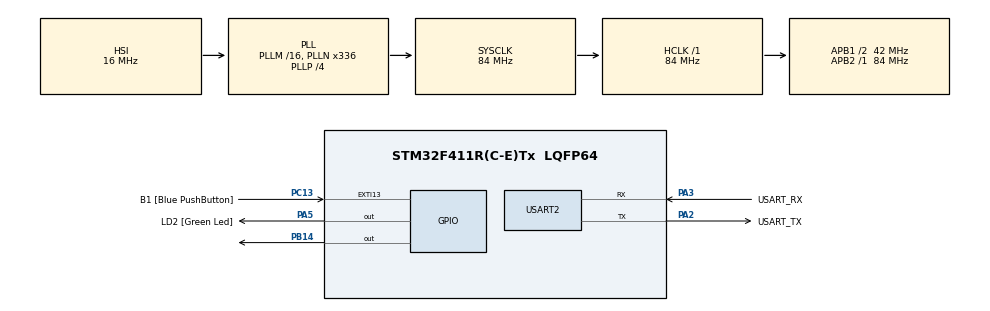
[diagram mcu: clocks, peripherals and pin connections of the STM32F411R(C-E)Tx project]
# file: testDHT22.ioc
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Mcu.Family=STM32F4
Mcu.Name=STM32F411R(C-E)Tx
Mcu.Package=LQFP64
NVIC.PriorityGroup=NVIC_PRIORITYGROUP_0
PA13.GPIO_Label=TMS
PA13.Mode=Serial_Wire
PA13.Signal=SYS_JTMS-SWDIO
PA14.GPIO_Label=TCK
PA14.Mode=Serial_Wire
PA14.Signal=SYS_JTCK-SWCLK
PA2.GPIO_Label=USART_TX
PA2.Mode=Asynchronous
PA2.Signal=USART2_TX
PA3.GPIO_Label=USART_RX
PA3.Mode=Asynchronous
PA3.Signal=USART2_RX
PA5.GPIO_Label=LD2 [Green Led]
PA5.Signal=GPIO_Output
PB14.Signal=GPIO_Output
PB3.GPIO_Label=SWO
PB3.Signal=SYS_JTDO-SWO
PC13-ANTI_TAMP.GPIO_Label=B1 [Blue PushButton]
PC13-ANTI_TAMP.GPIO_ModeDefaultEXTI=GPIO_MODE_IT_FALLING
PC13-ANTI_TAMP.Signal=GPXTI13
PC14-OSC32_IN.Signal=RCC_OSC32_IN
PC15-OSC32_OUT.Signal=RCC_OSC32_OUT
PH0\ -\ OSC_IN.Mode=HSE-External-Oscillator
PH0\ -\ OSC_IN.Signal=RCC_OSC_IN
PH1\ -\ OSC_OUT.Mode=HSE-External-Oscillator
PH1\ -\ OSC_OUT.Signal=RCC_OSC_OUT
ProjectManager.HeapSize=0x200
ProjectManager.StackSize=0x400
ProjectManager.TargetToolchain=STM32CubeIDE
RCC.48MHZClocksFreq_Value=84000000
RCC.AHBFreq_Value=84000000
RCC.APB1CLKDivider=RCC_HCLK_DIV2
RCC.APB1Freq_Value=42000000
RCC.APB1TimFreq_Value=84000000
RCC.APB2Freq_Value=84000000
RCC.APB2TimFreq_Value=84000000
RCC.CortexFreq_Value=84000000
RCC.FLatency-AdvancedSettings=FLASH_LATENCY_2
RCC.HCLKFreq_Value=84000000
RCC.HSE_VALUE=8000000
RCC.HSI_VALUE=16000000
RCC.PLLN=336
RCC.PLLP=RCC_PLLP_DIV4
RCC.SYSCLKFreq_VALUE=84000000
RCC.SYSCLKSource=RCC_SYSCLKSOURCE_PLLCLK
RCC.VCOOutputFreq_Value=336000000
TIM1.Prescaler=83
USART2.VirtualMode=VM_ASYNC
VP_TIM1_VS_ClockSourceINT.Mode=Internal
board=NUCLEO-F411RE

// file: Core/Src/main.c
/* USER CODE BEGIN Header */
/**
  ******************************************************************************
  * @file           : main.c
  * @brief          : Main program body
  ******************************************************************************
  * @attention
  *
  * Copyright (c) 2025 STMicroelectronics.
  * All rights reserved.
  *
  * This software is licensed under terms that can be found in the LICENSE file
  * in the root directory of this software component.
  * If no LICENSE file comes with this software, it is provided AS-IS.
  *
  ******************************************************************************
  */
/* USER CODE END Header */
#include "main.h"

/* USER CODE BEGIN Includes */
#include "stdio.h"
/* USER CODE END Includes */

TIM_HandleTypeDef htim1;

UART_HandleTypeDef huart2;

void SystemClock_Config(void);
static void MX_GPIO_Init(void);
static void MX_USART2_UART_Init(void);
static void MX_TIM1_Init(void);
/* USER CODE BEGIN PFP */
#define DHT22_PORT GPIOB
#define DHT22_PIN GPIO_PIN_14
/* USER CODE END PFP */

/* USER CODE BEGIN 0 */
uint8_t hum1, hum2, tempC1, tempC2, SUM, CHECK;
uint32_t pMillis, cMillis;
float temp_Celsius = 0;
float Humidity = 0;
uint8_t hum_integral, hum_decimal, tempC_integral, tempC_decimal;
char string[15];

void microDelay (uint16_t delay)
{
  __HAL_TIM_SET_COUNTER(&htim1, 0);
  while (__HAL_TIM_GET_COUNTER(&htim1) < delay);
}

uint8_t DHT22_Start (void)
{
  uint8_t Response = 0;
  GPIO_InitTypeDef GPIO_InitStructPrivate = {0};
  GPIO_InitStructPrivate.Pin = DHT22_PIN;
  GPIO_InitStructPrivate.Mode = GPIO_MODE_OUTPUT_PP;
  GPIO_InitStructPrivate.Speed = GPIO_SPEED_FREQ_LOW;
  GPIO_InitStructPrivate.Pull = GPIO_NOPULL;
  HAL_GPIO_Init(DHT22_PORT, &GPIO_InitStructPrivate);
  HAL_GPIO_WritePin(DHT22_PORT, DHT22_PIN, 0);
  microDelay(1300);
  HAL_GPIO_WritePin(DHT22_PORT, DHT22_PIN, 1);
  microDelay(30);
  GPIO_InitStructPrivate.Mode = GPIO_MODE_INPUT;
  GPIO_InitStructPrivate.Pull = GPIO_PULLUP;
  HAL_GPIO_Init(DHT22_PORT, &GPIO_InitStructPrivate);
  microDelay(40);
  if (!(HAL_GPIO_ReadPin(DHT22_PORT, DHT22_PIN)))
  {
    microDelay(80);
    if ((HAL_GPIO_ReadPin(DHT22_PORT, DHT22_PIN))) Response = 1;
  }
  pMillis = HAL_GetTick();
  cMillis = HAL_GetTick();
  while ((HAL_GPIO_ReadPin(DHT22_PORT, DHT22_PIN)) && pMillis + 2 > cMillis)
  {
    cMillis = HAL_GetTick();
  }
  return Response;
}

uint8_t DHT22_Read (void)
{
  uint8_t x,y;
  for (x=0;x<8;x++)
  {
    pMillis = HAL_GetTick();
    cMillis = HAL_GetTick();
    while (!(HAL_GPIO_ReadPin(DHT22_PORT, DHT22_PIN)) && pMillis + 2 > cMillis)
    {
      cMillis = HAL_GetTick();
    }
    microDelay (40);
    if (!(HAL_GPIO_ReadPin(DHT22_PORT, DHT22_PIN)))   // if the pin is low
      y&= ~(1<<(7-x));
    else
      y|= (1<<(7-x));
    pMillis = HAL_GetTick();
    cMillis = HAL_GetTick();
    while ((HAL_GPIO_ReadPin(DHT22_PORT, DHT22_PIN)) && pMillis + 2 > cMillis)
    {  // wait for the pin to go low
      cMillis = HAL_GetTick();
    }
  }
  return y;
}
/* USER CODE END 0 */

int main(void)
{

  /* MCU Configuration--------------------------------------------------------*/

  /* Reset of all peripherals, Initializes the Flash interface and the Systick. */
  HAL_Init();

  /* Configure the system clock */
  SystemClock_Config();

  /* Initialize all configured peripherals */
  MX_GPIO_Init();
  MX_USART2_UART_Init();
  MX_TIM1_Init();
  /* USER CODE BEGIN 2 */
  HAL_TIM_Base_Start(&htim1);
  /* USER CODE END 2 */

  /* Infinite loop */
  while (1)
  {

    /* USER CODE BEGIN 3 */
	 if(DHT22_Start())
	 {
	   hum1 = DHT22_Read();
	   hum2 = DHT22_Read();
	   tempC1 = DHT22_Read();
	   tempC2 = DHT22_Read();
	   SUM = DHT22_Read();
	   CHECK = hum1 + hum2 + tempC1 + tempC2;
	   if (CHECK == SUM)
	   {
		 if (tempC1>127)
		 {
		   temp_Celsius = (float)tempC2/10*(-1);
		 }
		 else
		 {
		   temp_Celsius = (float)((tempC1<<8)|tempC2)/10;
		 }

		 Humidity = (float) ((hum1<<8)|hum2)/10;

		 hum_integral = Humidity;
		 hum_decimal = Humidity*10-hum_integral*10;
		 sprintf(string,"%d.%d %%  ", hum_integral, hum_decimal);
		 HAL_UART_Transmit(&huart2, (uint8_t*)("Humidity :"), 10, HAL_MAX_DELAY);
		 HAL_UART_Transmit(&huart2, (uint8_t*)string, strlen(string), HAL_MAX_DELAY);

		 if (temp_Celsius < 0)
		 {
		   tempC_integral = temp_Celsius *(-1);
		   tempC_decimal = temp_Celsius*(-10)-tempC_integral*10;
		   sprintf(string,"-%d.%d C   ", tempC_integral, tempC_decimal);
		 }
		 else
		 {
		   tempC_integral = temp_Celsius;
		   tempC_decimal = temp_Celsius*10-tempC_integral*10;
		   sprintf(string,"%d.%d C   ", tempC_integral, tempC_decimal);
		 }
		 HAL_UART_Transmit(&huart2, (uint8_t*)("Temperature :"), 13, HAL_MAX_DELAY);
		 HAL_UART_Transmit(&huart2, (uint8_t*)string, strlen(string), HAL_MAX_DELAY);
	   }
	 }
	 HAL_Delay(1000);
  }
  /* USER CODE END 3 */
}

void SystemClock_Config(void)
{
  RCC_OscInitTypeDef RCC_OscInitStruct = {0};
  RCC_ClkInitTypeDef RCC_ClkInitStruct = {0};

  /** Configure the main internal regulator output voltage
  */
  __HAL_RCC_PWR_CLK_ENABLE();
  __HAL_PWR_VOLTAGESCALING_CONFIG(PWR_REGULATOR_VOLTAGE_SCALE1);

  /** Initializes the RCC Oscillators according to the specified parameters
  * in the RCC_OscInitTypeDef structure.
  */
  RCC_OscInitStruct.OscillatorType = RCC_OSCILLATORTYPE_HSI;
  RCC_OscInitStruct.HSIState = RCC_HSI_ON;
  RCC_OscInitStruct.HSICalibrationValue = RCC_HSICALIBRATION_DEFAULT;
  RCC_OscInitStruct.PLL.PLLState = RCC_PLL_ON;
  RCC_OscInitStruct.PLL.PLLSource = RCC_PLLSOURCE_HSI;
  RCC_OscInitStruct.PLL.PLLM = 16;
  RCC_OscInitStruct.PLL.PLLN = 336;
  RCC_OscInitStruct.PLL.PLLP = RCC_PLLP_DIV4;
  RCC_OscInitStruct.PLL.PLLQ = 4;
  if (HAL_RCC_OscConfig(&RCC_OscInitStruct) != HAL_OK)
  {
    Error_Handler();
  }

  /** Initializes the CPU, AHB and APB buses clocks
  */
  RCC_ClkInitStruct.ClockType = RCC_CLOCKTYPE_HCLK|RCC_CLOCKTYPE_SYSCLK
                              |RCC_CLOCKTYPE_PCLK1|RCC_CLOCKTYPE_PCLK2;
  RCC_ClkInitStruct.SYSCLKSource = RCC_SYSCLKSOURCE_PLLCLK;
  RCC_ClkInitStruct.AHBCLKDivider = RCC_SYSCLK_DIV1;
  RCC_ClkInitStruct.APB1CLKDivider = RCC_HCLK_DIV2;
  RCC_ClkInitStruct.APB2CLKDivider = RCC_HCLK_DIV1;

  if (HAL_RCC_ClockConfig(&RCC_ClkInitStruct, FLASH_LATENCY_2) != HAL_OK)
  {
    Error_Handler();
  }
}

static void MX_TIM1_Init(void)
{

  TIM_ClockConfigTypeDef sClockSourceConfig = {0};
  TIM_MasterConfigTypeDef sMasterConfig = {0};

  htim1.Instance = TIM1;
  htim1.Init.Prescaler = 83;
  htim1.Init.CounterMode = TIM_COUNTERMODE_UP;
  htim1.Init.Period = 65535;
  htim1.Init.ClockDivision = TIM_CLOCKDIVISION_DIV1;
  htim1.Init.RepetitionCounter = 0;
  htim1.Init.AutoReloadPreload = TIM_AUTORELOAD_PRELOAD_DISABLE;
  if (HAL_TIM_Base_Init(&htim1) != HAL_OK)
  {
    Error_Handler();
  }
  sClockSourceConfig.ClockSource = TIM_CLOCKSOURCE_INTERNAL;
  if (HAL_TIM_ConfigClockSource(&htim1, &sClockSourceConfig) != HAL_OK)
  {
    Error_Handler();
  }
  sMasterConfig.MasterOutputTrigger = TIM_TRGO_RESET;
  sMasterConfig.MasterSlaveMode = TIM_MASTERSLAVEMODE_DISABLE;
  if (HAL_TIMEx_MasterConfigSynchronization(&htim1, &sMasterConfig) != HAL_OK)
  {
    Error_Handler();
  }

}

static void MX_USART2_UART_Init(void)
{

  huart2.Instance = USART2;
  huart2.Init.BaudRate = 115200;
  huart2.Init.WordLength = UART_WORDLENGTH_8B;
  huart2.Init.StopBits = UART_STOPBITS_1;
  huart2.Init.Parity = UART_PARITY_NONE;
  huart2.Init.Mode = UART_MODE_TX_RX;
  huart2.Init.HwFlowCtl = UART_HWCONTROL_NONE;
  huart2.Init.OverSampling = UART_OVERSAMPLING_16;
  if (HAL_UART_Init(&huart2) != HAL_OK)
  {
    Error_Handler();
  }

}

static void MX_GPIO_Init(void)
{
  GPIO_InitTypeDef GPIO_InitStruct = {0};

  /* GPIO Ports Clock Enable */
  __HAL_RCC_GPIOC_CLK_ENABLE();
  __HAL_RCC_GPIOH_CLK_ENABLE();
  __HAL_RCC_GPIOA_CLK_ENABLE();
  __HAL_RCC_GPIOB_CLK_ENABLE();

  /*Configure GPIO pin Output Level */
  HAL_GPIO_WritePin(LD2_GPIO_Port, LD2_Pin, GPIO_PIN_RESET);

  /*Configure GPIO pin Output Level */
  HAL_GPIO_WritePin(GPIOB, GPIO_PIN_14, GPIO_PIN_RESET);

  /*Configure GPIO pin : B1_Pin */
  GPIO_InitStruct.Pin = B1_Pin;
  GPIO_InitStruct.Mode = GPIO_MODE_IT_FALLING;
  GPIO_InitStruct.Pull = GPIO_NOPULL;
  HAL_GPIO_Init(B1_GPIO_Port, &GPIO_InitStruct);

  /*Configure GPIO pin : LD2_Pin */
  GPIO_InitStruct.Pin = LD2_Pin;
  GPIO_InitStruct.Mode = GPIO_MODE_OUTPUT_PP;
  GPIO_InitStruct.Pull = GPIO_NOPULL;
  GPIO_InitStruct.Speed = GPIO_SPEED_FREQ_LOW;
  HAL_GPIO_Init(LD2_GPIO_Port, &GPIO_InitStruct);

  /*Configure GPIO pin : PB14 */
  GPIO_InitStruct.Pin = GPIO_PIN_14;
  GPIO_InitStruct.Mode = GPIO_MODE_OUTPUT_PP;
  GPIO_InitStruct.Pull = GPIO_NOPULL;
  GPIO_InitStruct.Speed = GPIO_SPEED_FREQ_LOW;
  HAL_GPIO_Init(GPIOB, &GPIO_InitStruct);

}

void Error_Handler(void)
{
  __disable_irq();
  while (1)
  {
  }
}
